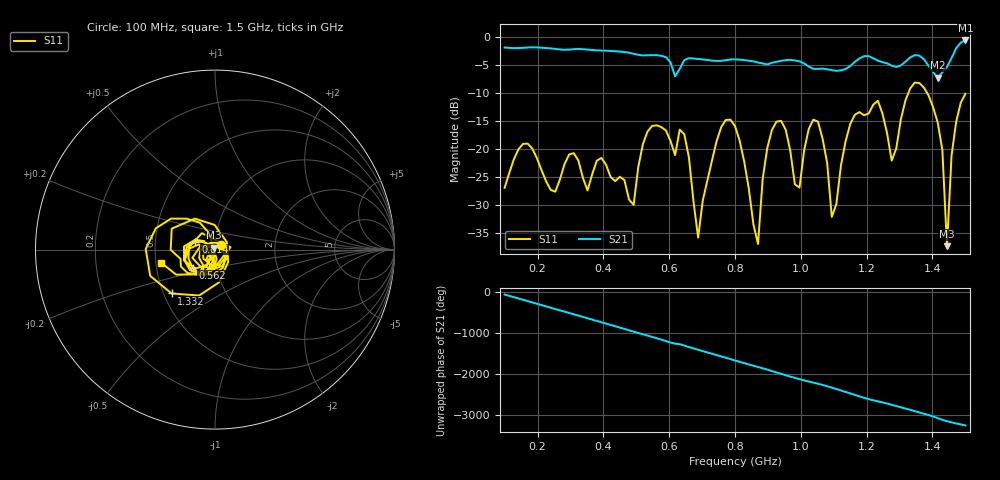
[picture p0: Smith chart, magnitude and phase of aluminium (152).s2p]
! NanoVNA-App
! Date: 2025-09-25 14:56:27
! Start: 100MHz Stop: 1,5GHz Points: 101
! S-Parameter data: F S11 S21 S12 S22
# Hz S RI R 50
!  Frequency  S11_Real  S11_Imag  S21_Real  S21_Imag  S12_Real  S12_Imag  S22_Real  S22_Imag
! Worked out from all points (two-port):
!   101 points, 100 MHz to 1.5 GHz, reference 50 ohm
!   highest |S21| = -0.66 dB at 1.5 GHz (marker M1); lowest = -7.3 dB at 1.416 GHz (marker M2)
!   |S21| within 3 dB of the highest: start of sweep to 590.3 MHz; 1.459 GHz to end of sweep (the widest 2 of 4)
!   lowest |S11| = -37.4 dB at 1.444 GHz (marker M3), VSWR 1.03, Z = 49.2 + j1.06 ohm
!   |S11| at or under -10 dB: start of sweep to 1.327 GHz; 1.383 GHz to end of sweep
!   S12 and S22 are empty: the file has one direction only
!   S11 on the Smith chart (normalised r, x): 100 MHz: 1.07, +0.06; 562 MHz: 0.76, -0.16; 814 MHz: 0.80, +0.07; 1.332 GHz: 0.55, -0.31; 1.5 GHz: 0.53, -0.09
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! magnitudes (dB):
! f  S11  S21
! 100 MHz  -27.0  -1.9
! 338 MHz  -25.2  -2.2
! 492 MHz  -30.1  -3.1
! 562 MHz  -15.8  -3.3
! 576 MHz  -16.1  -3.4
! 646 MHz  -17.4  -4.2
! 688 MHz  -35.9  -4.0
! 800 MHz  -16.0  -4.0
! 814 MHz  -18.6  -4.1
! 870 MHz  -37.0  -4.6
! 912 MHz  -16.7  -4.7
! 996 MHz  -27.0  -4.4
! 1.038 GHz  -14.8  -5.7
! 1.094 GHz  -32.2  -6.0
! 1.164 GHz  -13.9  -4.5
! 1.234 GHz  -11.4  -4.3
! 1.276 GHz  -22.1  -5.2
! 1.332 GHz  -9.3  -3.7
! 1.416 GHz  -15.3  -7.3
! 1.444 GHz  -37.4  -5.4
! 1.458 GHz  -21.2  -3.8
! 1.5 GHz  -10.2  -0.7
